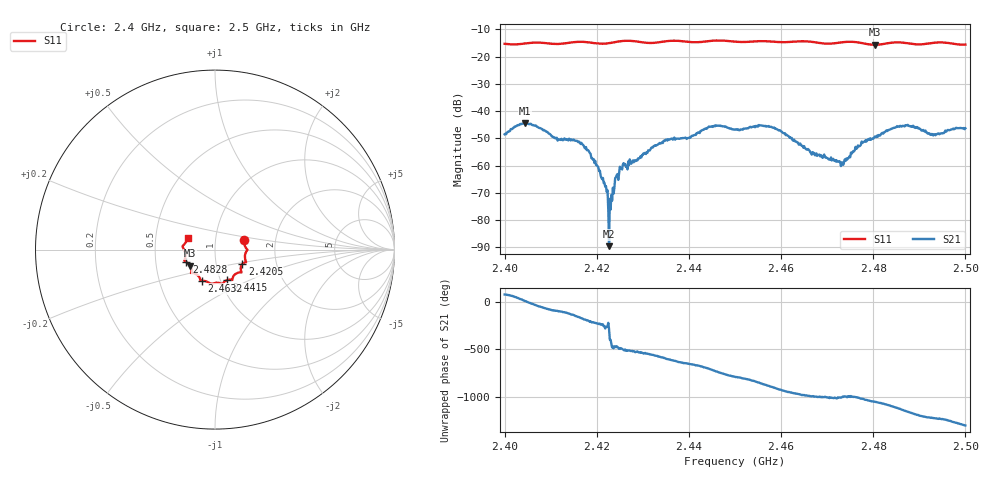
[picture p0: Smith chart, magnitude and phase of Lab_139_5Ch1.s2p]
# Hz S RI R 50
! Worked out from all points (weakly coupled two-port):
!   601 points, 2.4 GHz to 2.5 GHz, reference 50 ohm
!   highest |S21| = -44.39 dB at 2.4045 GHz (marker M1); lowest = -89.6 dB at 2.4227 GHz (marker M2)
!   lowest |S11| = -15.7 dB at 2.4803 GHz (marker M3), VSWR 1.39, Z = 37.3 - j6.84 ohm
!   |S11| at or under -10 dB: start of sweep to end of sweep
!   S12 and S22 are empty: the file has one direction only
!   S11 on the Smith chart (normalised r, x): 2.4 GHz: 1.38, +0.15; 2.4205 GHz: 1.34, -0.22; 2.4415 GHz: 1.07, -0.38; 2.4632 GHz: 0.82, -0.29; 2.4828 GHz: 0.72, -0.10; 2.5 GHz: 0.73, +0.10
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2.4e9  0.1632 0.0515  0.000607 0.0037  0 0  0 0
2.4045e9  0.1738 0.0071  0.00591 0.00123  0 0  0 0
2.416667e9  0.173 -0.0696  -0.00257 -0.000454  0 0  0 0
2.4205e9  0.152 -0.0814  -0.000493 0.000623  0 0  0 0
2.422667e9  0.1432 -0.1018  7.91e-06 3.23e-05  0 0  0 0
2.423e9  0.1431 -0.1052  0.000125 -9.36e-05  0 0  0 0
2.424e9  0.1441 -0.1145  -0.000195 -0.000558  0 0  0 0
2.4255e9  0.1473 -0.124  -0.000582 -0.000618  0 0  0 0
2.433333e9  0.1005 -0.1515  -0.00199 0.00145  0 0  0 0
2.4415e9  0.0655 -0.1708  0.00222 0.00289  0 0  0 0
2.446e9  0.0415 -0.1923  0.00522 -0.00126  0 0  0 0
2.45e9  0.0244 -0.1861  0.00171 -0.0042  0 0  0 0
2.4575e9  -0.0284 -0.1873  -0.00504 -0.00104  0 0  0 0
2.463167e9  -0.0731 -0.1741  -0.00101 0.00255  0 0  0 0
2.466667e9  -0.0819 -0.167  0.000109 0.00159  0 0  0 0
2.473167e9  -0.1277 -0.1303  0.000309 0.00111  0 0  0 0
2.480333e9  -0.1379 -0.0891  0.00302 0.00157  0 0  0 0
2.482833e9  -0.1589 -0.0702  0.00441 -0.00012  0 0  0 0
2.483333e9  -0.1627 -0.0682  0.00442 -0.000598  0 0  0 0
2.4875e9  -0.1672 -0.0513  0.00113 -0.00547  0 0  0 0
2.493e9  -0.1779 0.0094  -0.00288 -0.00212  0 0  0 0
2.5e9  -0.1525 0.0647  -0.00352 0.0033  0 0  0 0
